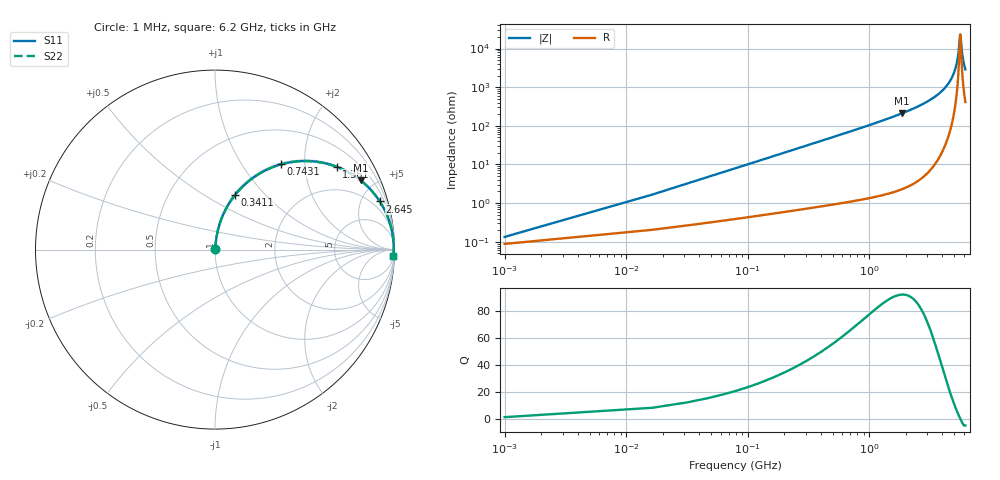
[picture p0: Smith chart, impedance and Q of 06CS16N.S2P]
! Coilcraft 0603CS-16N Chip Inductor
! 21 May 2002
# MHZ S MA R 50
!Freq  MagS11  AngS11  MagS21  AngS21  MagS12  AngS12  MagS22  AngS22
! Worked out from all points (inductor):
!   402 points, 1 MHz to 6.2 GHz, reference 50 ohm
!   read as one part in series: L = 16 nH near 31.92 MHz
!   highest Q = 92 at 1.856 GHz (marker M1), where L = 18 nH
!   self-resonance near 5.613 GHz
!   S11 on the Smith chart (normalised r, x): 1 MHz: 1.00, +0.00; 341.1 MHz: 1.02, +0.69; 743.1 MHz: 1.02, +1.52; 1.361 GHz: 1.03, +2.91; 2.645 GHz: 1.08, +6.82; 6.2 GHz: 9, -57
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1  0.001335 48.7  0.9991 -0.1  0.9991 -0.1  0.001335 48.7
47.38  0.04753 83.5  0.9958 -2.7  0.9958 -2.7  0.04753 83.5
78.3  0.07828 82.7  0.9931 -4.5  0.9931 -4.5  0.07828 82.7
124.68  0.1239 80.7  0.9876 -7.1  0.9876 -7.1  0.1239 80.7
171.06  0.1688 78.5  0.9803 -9.7  0.9803 -9.7  0.1688 78.5
341.12  0.3233 69.9  0.9392 -18.9  0.9392 -18.9  0.3233 69.9
511.18  0.4568 61.8  0.8815 -27.2  0.8815 -27.2  0.4568 61.8
743.08  0.601 52.2  0.7904 -36.9  0.7904 -36.9  0.601 52.2
1036.82  0.7288 42.5  0.6755 -46.8  0.6755 -46.8  0.7288 42.5
1361.48  0.8195 34.3  0.5637 -55.0  0.5637 -55.0  0.8195 34.3
1856.2  0.8986 25.4  0.4291 -64.0  0.4291 -64.0  0.8986 25.4
2072.64  0.9201 22.4  0.3817 -66.9  0.3817 -66.9  0.9201 22.4
2644.66  0.9565 16.3  0.2803 -73.0  0.2803 -73.0  0.9565 16.3
3108.46  0.9732 12.5  0.2164 -76.7  0.2164 -76.7  0.9732 12.5
4144.28  0.9908 6.2  0.1089 -82.0  0.1089 -82.0  0.9908 6.2
4762.68  0.9947 3.4  0.05906 -83.1  0.05906 -83.1  0.9947 3.4
5180.1  0.9957 1.7  0.02947 -80.7  0.02947 -80.7  0.9957 1.7
5396.54  0.9958 0.8  0.01534 -73.7  0.01534 -73.7  0.9958 0.8
5582.06  0.9957 0.2  0.005147 -33.9  0.005147 -33.9  0.9957 0.2
5628.44  0.9957 -0.0  0.00431 0.4  0.00431 0.4  0.9957 -0.0
5891.26  0.9953 -0.9  0.01672 73.2  0.01672 73.2  0.9953 -0.9
6200  0.9945 -2.0  0.03442 79.8  0.03442 79.8  0.9945 -2.0
